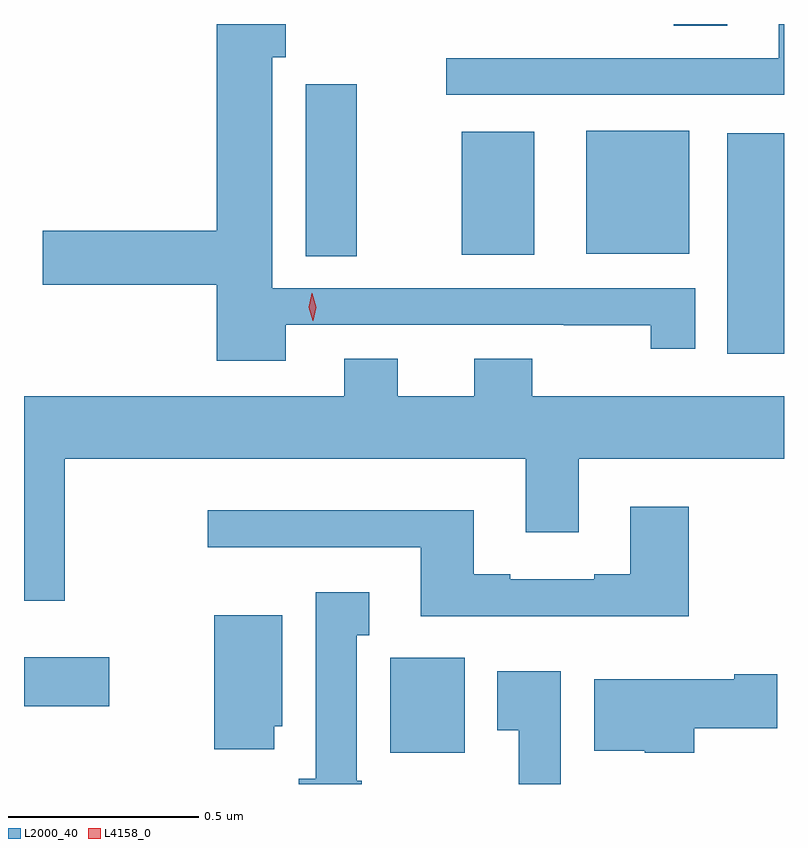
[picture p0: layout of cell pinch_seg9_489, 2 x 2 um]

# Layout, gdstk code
import gdstk
lib = gdstk.Library(unit=1e-6, precision=1e-09)
def R(c, l, rs):  # rectangles x0, y0, x1, y1
    for r in rs: c.add(gdstk.rectangle(r[:2], r[2:], *l))
def P(c, l, *ps):  # polygons
    for p in ps: c.add(gdstk.Polygon(p, *l))
L2000_40 = (2000, 40)
L4158_0 = (4158, 0)

pinch_seg9_489 = lib.new_cell('pinch_seg9_489')
R(pinch_seg9_489, L2000_40, [(345.849,1169.006,346.045,1169.256), (344.885,1169.128,345.109,1169.257), (346.736,1170.056,346.885,1170.637), (345.626,1170.313,345.76,1170.766), (346.037,1170.317,346.228,1170.64), (346.364,1170.32,346.636,1170.643), (346.595,1170.919,346.735,1170.924)])
P(pinch_seg9_489, L2000_40, [(346.885,1170.924),(346.871,1170.924),(346.871,1170.834),(345.996,1170.834),(345.996,1170.738),(346.885,1170.738)],
  [(345.574,1170.132),(346.306,1170.132),(346.306,1170.131),(346.534,1170.131),(346.534,1170.069),(346.651,1170.069),(346.651,1170.228),(345.538,1170.228),(345.538,1170.836),(345.574,1170.836),(345.574,1170.924),(345.392,1170.924),(345.392,1170.38),(344.934,1170.38),(344.934,1170.238),(345.392,1170.238),(345.392,1170.038),(345.574,1170.038)],
  [(344.992,1169.78),(346.205,1169.78),(346.205,1169.586),(346.345,1169.586),(346.345,1169.78),(346.885,1169.78),(346.885,1169.944),(346.223,1169.944),(346.223,1170.043),(346.07,1170.043),(346.07,1169.944),(345.868,1169.944),(345.868,1170.043),(345.728,1170.043),(345.728,1169.944),(344.885,1169.944),(344.885,1169.406),(344.992,1169.406)],
  [(346.634,1169.653),(346.481,1169.653),(346.481,1169.476),(346.385,1169.476),(346.385,1169.463),(346.165,1169.463),(346.165,1169.476),(346.069,1169.476),(346.069,1169.644),(345.369,1169.644),(345.369,1169.547),(345.929,1169.547),(345.929,1169.366),(346.634,1169.366)],
  [(345.774,1168.932),(345.76,1168.932),(345.76,1169.315),(345.793,1169.315),(345.793,1169.428),(345.653,1169.428),(345.653,1168.938),(345.608,1168.938),(345.608,1168.924),(345.774,1168.924)],
  [(345.544,1169.076),(345.565,1169.076),(345.565,1169.368),(345.386,1169.368),(345.386,1169.016),(345.544,1169.016)],
  [(346.297,1169.221),(346.13,1169.221),(346.13,1169.065),(346.187,1169.065),(346.187,1168.924),(346.297,1168.924)],
  [(346.649,1169.071),(346.867,1169.071),(346.867,1169.213),(346.754,1169.213),(346.754,1169.2),(346.385,1169.2),(346.385,1169.012),(346.518,1169.012),(346.518,1169.006),(346.649,1169.006)])
P(pinch_seg9_489, L4158_0, [(345.645,1170.143),(345.645,1170.143),(345.634,1170.178),(345.642,1170.215),(345.643,1170.215),(345.643,1170.215),(345.654,1170.179),(345.646,1170.143)])

lib.write_gds('pinch_seg9_489.gds')
